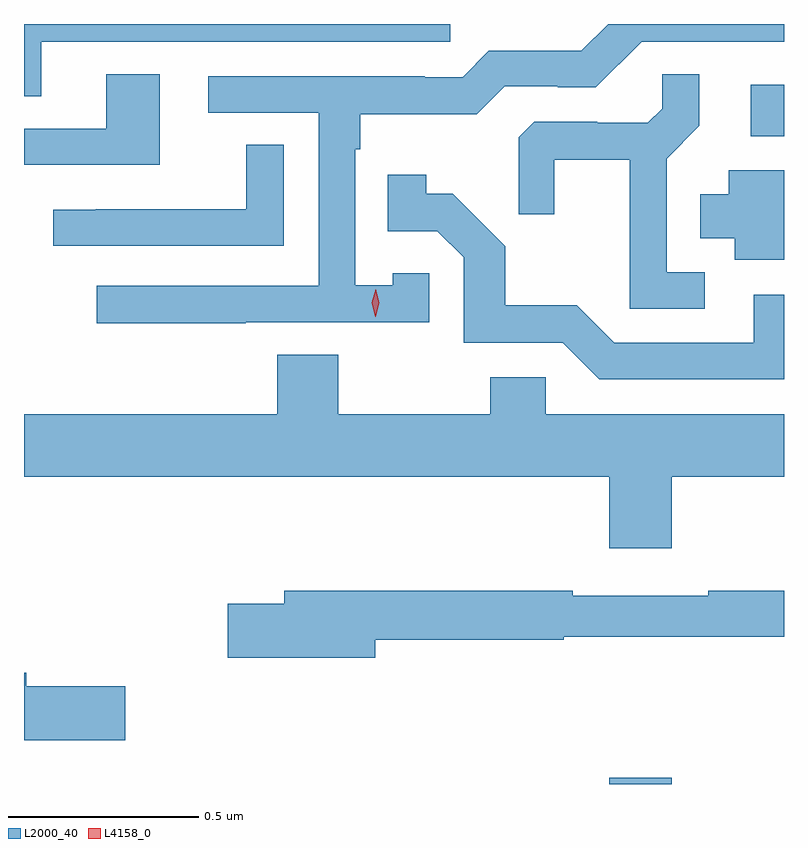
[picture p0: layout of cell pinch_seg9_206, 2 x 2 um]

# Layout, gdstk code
import gdstk
lib = gdstk.Library(unit=1e-6, precision=1e-09)
def R(c, l, rs):  # rectangles x0, y0, x1, y1
    for r in rs: c.add(gdstk.rectangle(r[:2], r[2:], *l))
def P(c, l, *ps):  # polygons
    for p in ps: c.add(gdstk.Polygon(p, *l))
L2000_40 = (2000, 40)
L4158_0 = (4158, 0)

pinch_seg9_206 = lib.new_cell('pinch_seg9_206')
R(pinch_seg9_206, L2000_40, [(524.648,1244.895,524.812,1244.911), (525.021,1246.599,525.108,1246.735)])
P(pinch_seg9_206, L2000_40, [(523.153,1246.848),(524.23,1246.848),(524.23,1246.895),(523.108,1246.895),(523.108,1246.705),(523.153,1246.705)],
  [(523.691,1246.11),(524.175,1246.11),(524.175,1246.239),(524.079,1246.239),(524.079,1246.207),(523.98,1246.207),(523.98,1246.565),(523.993,1246.565),(523.993,1246.658),(524.3,1246.658),(524.373,1246.731),(524.512,1246.731),(524.512,1246.728),(524.613,1246.728),(524.733,1246.848),(525.108,1246.848),(525.108,1246.895),(524.645,1246.895),(524.574,1246.824),(524.331,1246.824),(524.262,1246.755),(524.162,1246.755),(524.162,1246.758),(523.593,1246.758),(523.593,1246.662),(523.884,1246.662),(523.884,1246.206),(523.299,1246.206),(523.299,1246.108),(523.691,1246.108)],
  [(524.899,1246.242),(524.799,1246.242),(524.799,1246.541),(524.885,1246.627),(524.885,1246.763),(524.787,1246.763),(524.787,1246.672),(524.75,1246.635),(524.616,1246.635),(524.616,1246.638),(524.451,1246.638),(524.41,1246.597),(524.41,1246.395),(524.504,1246.395),(524.504,1246.538),(524.702,1246.538),(524.702,1246.146),(524.899,1246.146)],
  [(523.465,1246.763),(523.325,1246.763),(523.325,1246.62),(523.108,1246.62),(523.108,1246.524),(523.465,1246.524)],
  [(523.791,1246.577),(523.693,1246.577),(523.693,1246.407),(523.297,1246.407),(523.297,1246.406),(523.185,1246.406),(523.185,1246.311),(523.791,1246.311)],
  [(525.108,1246.51),(524.963,1246.51),(524.963,1246.447),(524.888,1246.447),(524.888,1246.331),(524.978,1246.331),(524.978,1246.274),(525.108,1246.274)],
  [(525.108,1246.182),(525.029,1246.182),(525.029,1246.056),(524.661,1246.056),(524.563,1246.155),(524.374,1246.155),(524.374,1246.31),(524.236,1246.448),(524.166,1246.448),(524.166,1246.498),(524.065,1246.498),(524.065,1246.35),(524.196,1246.35),(524.265,1246.281),(524.265,1246.056),(524.526,1246.056),(524.622,1245.96),(525.108,1245.96)],
  [(524.812,1245.704),(525.108,1245.704),(525.108,1245.868),(524.481,1245.868),(524.481,1245.966),(524.335,1245.966),(524.335,1245.868),(523.935,1245.868),(523.935,1246.025),(523.775,1246.025),(523.775,1245.868),(523.108,1245.868),(523.108,1245.704),(524.648,1245.704),(524.648,1245.516),(524.812,1245.516)],
  [(524.032,1245.274),(524.528,1245.274),(524.528,1245.282),(525.108,1245.282),(525.108,1245.403),(524.908,1245.403),(524.908,1245.39),(524.552,1245.39),(524.552,1245.403),(523.793,1245.403),(523.793,1245.369),(523.644,1245.369),(523.644,1245.227),(524.032,1245.227)],
  [(523.375,1245.152),(523.114,1245.152),(523.114,1245.188),(523.108,1245.188),(523.108,1245.01),(523.375,1245.01)])
P(pinch_seg9_206, L4158_0, [(524.032,1246.125),(524.032,1246.125),(524.023,1246.161),(524.033,1246.197),(524.033,1246.197),(524.034,1246.197),(524.043,1246.161),(524.033,1246.125)])

lib.write_gds('pinch_seg9_206.gds')
